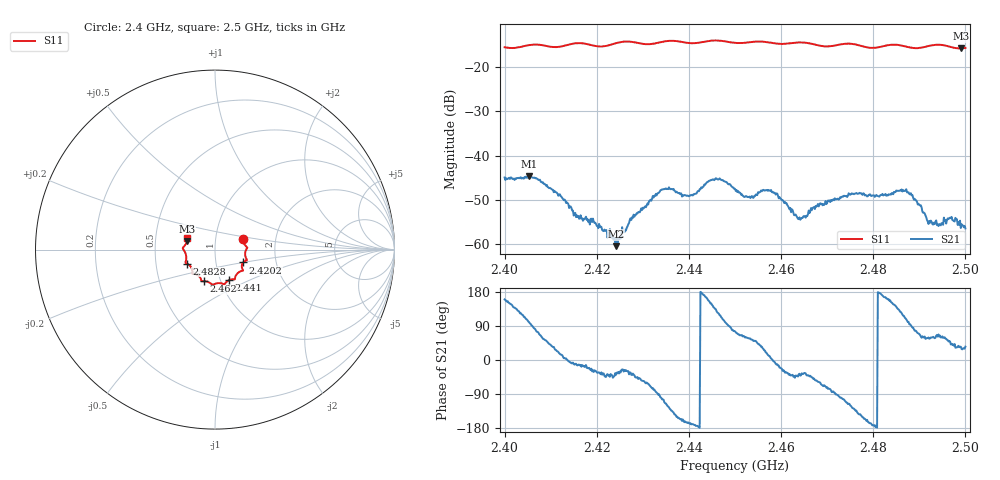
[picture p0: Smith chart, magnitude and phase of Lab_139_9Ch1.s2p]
# Hz S RI R 50
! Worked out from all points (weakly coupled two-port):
!   601 points, 2.4 GHz to 2.5 GHz, reference 50 ohm
!   highest |S21| = -44.65 dB at 2.4053 GHz (marker M1); lowest = -60.5 dB at 2.4242 GHz (marker M2)
!   lowest |S11| = -15.8 dB at 2.499 GHz (marker M3), VSWR 1.39, Z = 36.4 + j3.6 ohm
!   |S11| at or under -10 dB: start of sweep to end of sweep
!   S12 and S22 are empty: the file has one direction only
!   S11 on the Smith chart (normalised r, x): 2.4 GHz: 1.36, +0.17; 2.4202 GHz: 1.35, -0.20; 2.441 GHz: 1.10, -0.39; 2.462 GHz: 0.83, -0.30; 2.4828 GHz: 0.72, -0.12; 2.5 GHz: 0.73, +0.09
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2.4e9  0.1568 0.061  -0.00532 0.00195  0 0  0 0
2.405333e9  0.1777 0.0142  -0.000959 0.00578  0 0  0 0
2.411667e9  0.1678 -0.0263  0.00329 0.00125  0 0  0 0
2.416667e9  0.1774 -0.0592  0.00187 -0.000596  0 0  0 0
2.420167e9  0.1566 -0.0717  0.00132 -0.000891  0 0  0 0
2.424167e9  0.1525 -0.1084  0.000735 -0.0006  0 0  0 0
2.433333e9  0.1127 -0.1521  -0.000105 -0.00377  0 0  0 0
2.441e9  0.077 -0.1704  -0.00362 -0.000611  0 0  0 0
2.445667e9  0.0521 -0.194  -0.00383 0.00384  0 0  0 0
2.45e9  0.0272 -0.1867  0.00105 0.00409  0 0  0 0
2.4535e9  -0.00365 -0.193  0.00202 0.00278  0 0  0 0
2.4575e9  -0.0219 -0.1893  0.00398 0.000742  0 0  0 0
2.462e9  -0.0616 -0.1759  0.00196 -0.00167  0 0  0 0
2.464167e9  -0.0733 -0.1761  0.00142 -0.00125  0 0  0 0
2.466667e9  -0.0772 -0.1673  0.00169 -0.00173  0 0  0 0
2.475167e9  -0.1265 -0.1342  -0.00191 -0.00313  0 0  0 0
2.482833e9  -0.1582 -0.0775  -0.00336 0.00107  0 0  0 0
2.483333e9  -0.1609 -0.0762  -0.00344 0.00123  0 0  0 0
2.487e9  -0.1615 -0.0594  -0.00137 0.00379  0 0  0 0
2.492333e9  -0.1757 -0.000177  0.000945 0.00147  0 0  0 0
2.499e9  -0.1556 0.0482  0.00125 0.000872  0 0  0 0
2.5e9  -0.1533 0.0622  0.00123 0.000867  0 0  0 0
